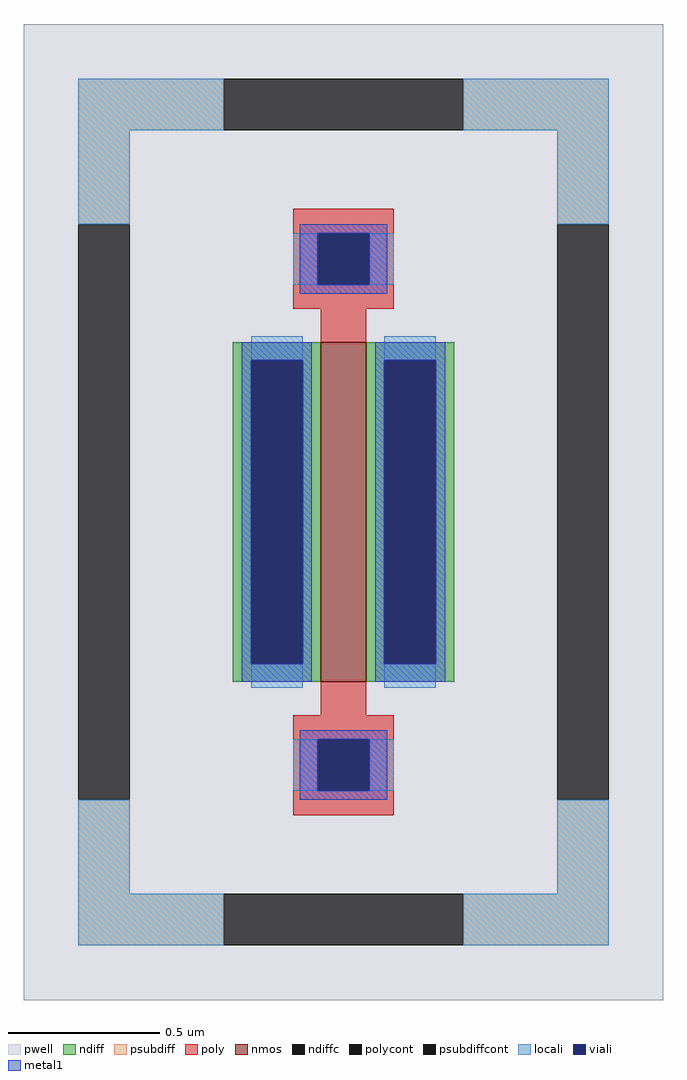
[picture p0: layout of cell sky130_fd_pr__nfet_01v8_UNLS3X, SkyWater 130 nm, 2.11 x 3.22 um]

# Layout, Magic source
magic
tech sky130A
magscale 1 2
<< pwell >>
rect -211 -322 211 322
<< nmos >>
rect -15 -112 15 112
<< ndiff >>
rect -73 100 -15 112
rect -73 -100 -61 100
rect -27 -100 -15 100
rect -73 -112 -15 -100
rect 15 100 73 112
rect 15 -100 27 100
rect 61 -100 73 100
rect 15 -112 73 -100
<< ndiffc >>
rect -61 -100 -27 100
rect 27 -100 61 100
<< psubdiff >>
rect -175 252 -79 286
rect 79 252 175 286
rect -175 190 -141 252
rect 141 190 175 252
rect -175 -252 -141 -190
rect 141 -252 175 -190
rect -175 -286 -79 -252
rect 79 -286 175 -252
<< psubdiffcont >>
rect -79 252 79 286
rect -175 -190 -141 190
rect 141 -190 175 190
rect -79 -286 79 -252
<< poly >>
rect -33 184 33 200
rect -33 150 -17 184
rect 17 150 33 184
rect -33 134 33 150
rect -15 112 15 134
rect -15 -134 15 -112
rect -33 -150 33 -134
rect -33 -184 -17 -150
rect 17 -184 33 -150
rect -33 -200 33 -184
<< polycont >>
rect -17 150 17 184
rect -17 -184 17 -150
<< locali >>
rect -175 252 -79 286
rect 79 252 175 286
rect -175 190 -141 252
rect 141 190 175 252
rect -33 150 -17 184
rect 17 150 33 184
rect -61 100 -27 116
rect -61 -116 -27 -100
rect 27 100 61 116
rect 27 -116 61 -100
rect -33 -184 -17 -150
rect 17 -184 33 -150
rect -175 -252 -141 -190
rect 141 -252 175 -190
rect -175 -286 -79 -252
rect 79 -286 175 -252
<< viali >>
rect -17 150 17 184
rect -61 -100 -27 100
rect 27 -100 61 100
rect -17 -184 17 -150
<< metal1 >>
rect -29 184 29 190
rect -29 150 -17 184
rect 17 150 29 184
rect -29 144 29 150
rect -67 100 -21 112
rect -67 -100 -61 100
rect -27 -100 -21 100
rect -67 -112 -21 -100
rect 21 100 67 112
rect 21 -100 27 100
rect 61 -100 67 100
rect 21 -112 67 -100
rect -29 -150 29 -144
rect -29 -184 -17 -150
rect 17 -184 29 -150
rect -29 -190 29 -184
<< properties >>
string FIXED_BBOX -158 -269 158 269
string gencell sky130_fd_pr__nfet_01v8
string library sky130
string parameters w 1.12 l 0.15 m 1 nf 1 diffcov 100 polycov 100 guard 1 glc 1 grc 1 gtc 1 gbc 1 tbcov 100 rlcov 100 topc 1 botc 1 poverlap 0 doverlap 1 lmin 0.15 wmin 0.42 compatible {sky130_fd_pr__nfet_01v8 sky130_fd_pr__nfet_01v8_lvt  sky130_fd_bs_flash__special_sonosfet_star  sky130_fd_pr__nfet_g5v0d10v5 sky130_fd_pr__nfet_05v0_nvt  sky130_fd_pr__nfet_03v3_nvt} full_metal 1 viasrc 100 viadrn 100 viagate 100 viagb 0 viagr 0 viagl 0 viagt 0
<< end >>
